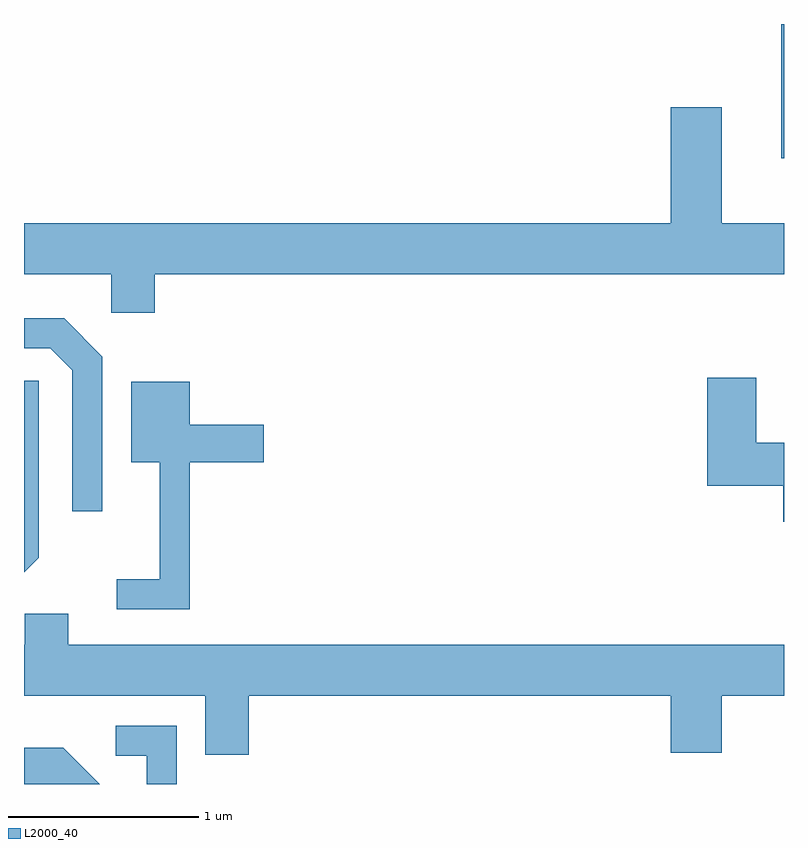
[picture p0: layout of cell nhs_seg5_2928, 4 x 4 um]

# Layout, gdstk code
import gdstk
lib = gdstk.Library(unit=1e-6, precision=1e-09)
def R(c, l, rs):  # rectangles x0, y0, x1, y1
    for r in rs: c.add(gdstk.rectangle(r[:2], r[2:], *l))
def P(c, l, *ps):  # polygons
    for p in ps: c.add(gdstk.Polygon(p, *l))
L2000_40 = (2000, 40)

nhs_seg5_2928 = lib.new_cell('nhs_seg5_2928')
R(nhs_seg5_2928, L2000_40, [(275.596,1497.366,275.611,1498.072)])
P(nhs_seg5_2928, L2000_40, [(272.299,1496.756),(275.611,1496.756),(275.611,1497.024),(275.284,1497.024),(275.284,1497.634),(275.016,1497.634),(275.016,1497.024),(271.611,1497.024),(271.611,1496.756),(272.071,1496.756),(272.071,1496.551),(272.299,1496.551)],
  [(272.024,1496.322),(271.822,1496.524),(271.611,1496.524),(271.611,1496.366),(271.749,1496.366),(271.866,1496.249),(271.866,1495.508),(272.024,1495.508)],
  [(275.611,1495.869),(275.464,1495.869),(275.464,1496.209),(275.206,1496.209),(275.206,1495.641),(275.606,1495.641),(275.606,1495.451),(275.611,1495.451)],
  [(271.689,1495.264),(271.689,1496.194),(271.611,1496.194),(271.611,1495.186)],
  [(272.484,1495.766),(272.874,1495.766),(272.874,1495.964),(272.484,1495.964),(272.484,1496.189),(272.176,1496.189),(272.176,1495.766),(272.326,1495.766),(272.326,1495.149),(272.098,1495.149),(272.098,1494.991),(272.484,1494.991)],
  [(272.794,1494.536),(275.016,1494.536),(275.016,1494.236),(275.284,1494.236),(275.284,1494.536),(275.611,1494.536),(275.611,1494.804),(271.844,1494.804),(271.844,1494.969),(271.616,1494.969),(271.616,1494.804),(271.611,1494.804),(271.611,1494.536),(272.566,1494.536),(272.566,1494.226),(272.794,1494.226)],
  [(272.414,1494.379),(272.093,1494.379),(272.093,1494.221),(272.256,1494.221),(272.256,1494.072),(272.414,1494.072)],
  [(271.817,1494.264),(271.611,1494.264),(271.611,1494.072),(272.009,1494.072)])

lib.write_gds('nhs_seg5_2928.gds')
